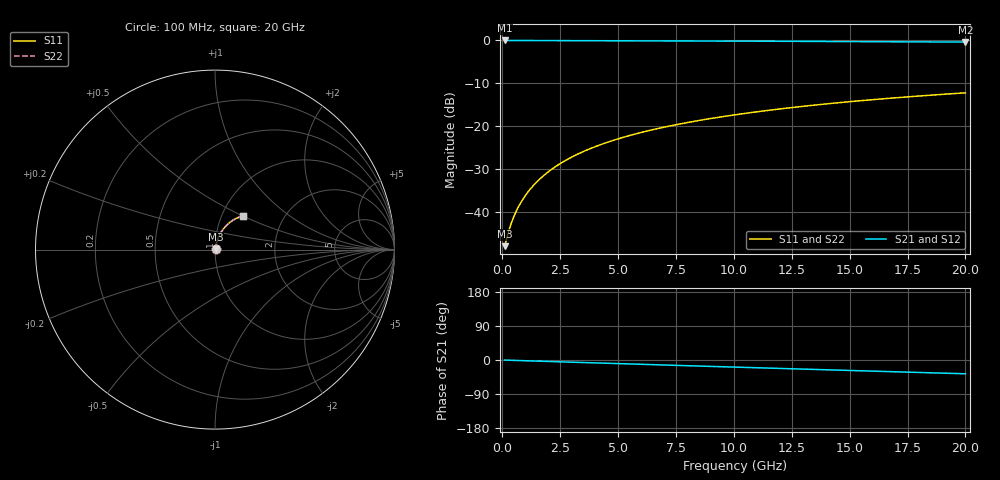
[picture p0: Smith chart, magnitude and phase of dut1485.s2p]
! Touchstone file exported from HFSS 2026.1.0
!  File:  C:/ffzhzh/LocalFiles/Ansys_Project_Files/temp_train_TMRDL_1485_1783167744_18472.aedt
!  Generated:  08:23:33 PM Jul  4, 2026
!  Design:  TMRDL
!  Project:  temp_train_TMRDL_1485_1783167744_18472
! Variables:
!  h_bsmrdl = 2um
!  h_ox = 20um
!  h_rdl = 5um
!  h_sub = 80um
!  h_tmrdl = 4.26um
!  h_tsv = 80um
!  h_via = 3um
!  l_bsmrdl = 300um
!  l_sub = 999.32um
!  l_tmrdl = 599.32um
!  m_sub = 200um
!  pitch = 25.63um
!  r_tsv = 6um
!  s_tmrdl = 10um
!  w_bsmrdl = 18um
!  w_sub = 500um
!  w_tmrdl = 13.94um
!  x_tsv_center1 = 606.29um
!  x_tsv_center2 = 924.29um
!  x_tsv_center3 = 1537.55um
!  x_tsv_center4 = 1855.55um
!  x_tsv_center5 = 2468.81um
!  x_tsv_center6 = 2786.81um
# GHz S MA R 50.000000
! Terminal data exported
! Port[1] = TM_RDL1_1_T1
! Port[2] = TM_RDL1_1_T2
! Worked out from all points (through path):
!   200 points, 100 MHz to 20 GHz, reference 50 ohm
!   highest |S21| = -0.03 dB at 100 MHz (marker M1); lowest = -0.4 dB at 20 GHz (marker M2)
!   group delay of S21, straight-line fit = 5.04 ps
!   lowest |S11| = -47.8 dB at 100 MHz (marker M3), VSWR 1.01, Z = 50.4 + j0.171 ohm
!   |S11| at or under -10 dB: start of sweep to end of sweep
!   |S22| runs from -47.8 to -12.2 dB; largest |S21 - S12| = 2.1e-15
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0.1  0.004055 24.8  0.9963 -0.2  0.9963 -0.2  0.004055 24.8
! Gamma 0 0 0 0
! Port Impedance 50 0 50 0
0.3  0.006338 50.3  0.996 -0.6  0.996 -0.6  0.006338 50.3
0.4  0.007646 56.3  0.9958 -0.8  0.9958 -0.8  0.007646 56.3
0.5  0.00897 60.4  0.9957 -1.0  0.9957 -1.0  0.008971 60.4
0.6  0.01031 63.5  0.9956 -1.2  0.9956 -1.2  0.01031 63.5
0.7  0.01165 66.0  0.9955 -1.4  0.9955 -1.4  0.01165 66.0
0.9  0.01438 69.4  0.9953 -1.8  0.9953 -1.8  0.01438 69.4
1.2  0.01854 72.7  0.9951 -2.3  0.9951 -2.3  0.01854 72.7
1.4  0.02135 74.0  0.9949 -2.7  0.9949 -2.7  0.02135 74.0
1.7  0.02559 75.3  0.9947 -3.3  0.9947 -3.3  0.02559 75.3
2.2  0.03269 76.3  0.9942 -4.2  0.9942 -4.2  0.03269 76.3
2.8  0.04118 76.6  0.9935 -5.4  0.9935 -5.4  0.04118 76.6
3.5  0.05101 76.2  0.9925 -6.7  0.9925 -6.7  0.05101 76.2
4.2  0.06071 75.5  0.9914 -8.0  0.9914 -8.0  0.06071 75.5
5  0.07162 74.5  0.99 -9.5  0.99 -9.5  0.07162 74.5
5.9  0.08367 73.1  0.9882 -11.2  0.9882 -11.2  0.08367 73.1
6.8  0.09548 71.7  0.9864 -12.9  0.9864 -12.9  0.09548 71.7
8.3  0.1147 69.3  0.9832 -15.6  0.9832 -15.6  0.1147 69.3
10.1  0.1369 66.3  0.9792 -18.9  0.9792 -18.9  0.1369 66.3
13.4  0.1758 60.9  0.9713 -24.8  0.9713 -24.8  0.1758 60.9
16.7  0.2119 55.5  0.9628 -30.6  0.9628 -30.6  0.2119 55.5
20  0.2452 50.1  0.954 -36.4  0.954 -36.4  0.2452 50.1
